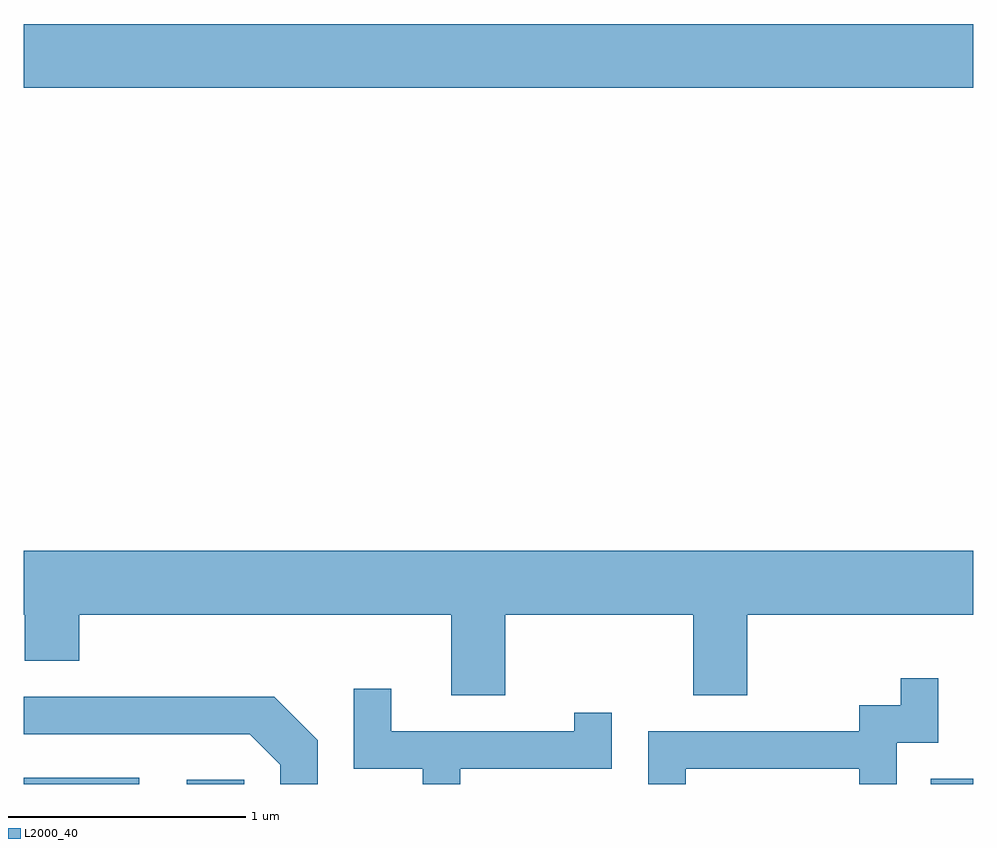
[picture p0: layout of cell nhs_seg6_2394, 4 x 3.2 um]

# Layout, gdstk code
import gdstk
lib = gdstk.Library(unit=1e-6, precision=1e-09)
def R(c, l, rs):  # rectangles x0, y0, x1, y1
    for r in rs: c.add(gdstk.rectangle(r[:2], r[2:], *l))
def P(c, l, *ps):  # polygons
    for p in ps: c.add(gdstk.Polygon(p, *l))
L2000_40 = (2000, 40)

nhs_seg6_2394 = lib.new_cell('nhs_seg6_2394')
R(nhs_seg6_2394, L2000_40, [(257.611,1598.162,258.098,1598.189), (258.298,1598.162,258.539,1598.179), (261.433,1598.162,261.611,1598.184), (257.611,1601.096,261.611,1601.364)])
P(nhs_seg6_2394, L2000_40, [(259.639,1598.876),(260.431,1598.876),(260.431,1598.536),(260.659,1598.536),(260.659,1598.876),(261.611,1598.876),(261.611,1599.144),(257.611,1599.144),(257.611,1598.876),(257.616,1598.876),(257.616,1598.681),(257.844,1598.681),(257.844,1598.876),(259.411,1598.876),(259.411,1598.536),(259.639,1598.536)],
  [(260.399,1598.226),(261.131,1598.226),(261.131,1598.162),(261.289,1598.162),(261.289,1598.336),(261.464,1598.336),(261.464,1598.608),(261.306,1598.608),(261.306,1598.494),(261.131,1598.494),(261.131,1598.384),(260.241,1598.384),(260.241,1598.162),(260.399,1598.162)],
  [(259.449,1598.226),(260.089,1598.226),(260.089,1598.463),(259.931,1598.463),(259.931,1598.384),(259.159,1598.384),(259.159,1598.563),(259.001,1598.563),(259.001,1598.226),(259.291,1598.226),(259.291,1598.162),(259.449,1598.162)],
  [(258.849,1598.347),(258.666,1598.529),(257.611,1598.529),(257.611,1598.371),(258.564,1598.371),(258.691,1598.244),(258.691,1598.162),(258.849,1598.162)])

lib.write_gds('nhs_seg6_2394.gds')
